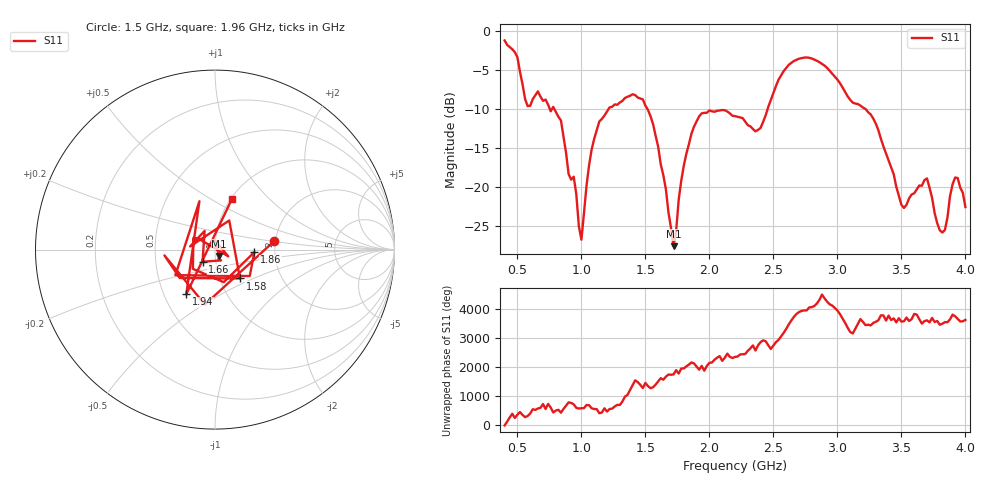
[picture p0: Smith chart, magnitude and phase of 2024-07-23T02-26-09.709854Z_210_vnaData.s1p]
!Created with skrf (http://scikit-rf.org).
# Hz S RI R 50.0
!freq ReS11 ImS11
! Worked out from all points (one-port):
!   181 points, 400 MHz to 4 GHz, reference 50 ohm
!   lowest |S11| = -27.5 dB at 1.72 GHz (marker M1), VSWR 1.09, Z = 52.3 - j3.65 ohm
!   |S11| at or under -10 dB: 788 MHz to 1.213 GHz (425 MHz wide, 42.5 % of centre); 1.515 GHz to 2.455 GHz (940.8 MHz wide, 47.4 % of centre); 3.217 GHz to end of sweep (the widest 3 of 4)
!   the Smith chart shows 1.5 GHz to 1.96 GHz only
!   S11 on the Smith chart (normalised r, x): 1.5 GHz: 1.96, +0.20; 1.58 GHz: 1.25, -0.42; 1.66 GHz: 0.86, -0.12; 1.86 GHz: 1.56, -0.05; 1.94 GHz: 0.65, -0.35; 1.96 GHz: 1.01, +0.63
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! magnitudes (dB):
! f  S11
! 400 MHz  -1.3
! 500 MHz  -3.4
! 580 MHz  -9.7
! 660 MHz  -7.8
! 860 MHz  -13.6
! 940 MHz  -18.7
! 1 GHz  -26.7
! 1.1 GHz  -13.8
! 1.3 GHz  -9.2
! 1.5 GHz  -9.6
! 1.58 GHz  -13.5
! 1.66 GHz  -20.3
! 1.72 GHz  -27.5
! 1.76 GHz  -21.6
! 1.86 GHz  -13.2
! 1.94 GHz  -10.6
! 1.96 GHz  -10.5
! 2.2 GHz  -10.9
! 2.4 GHz  -12.4
! 2.66 GHz  -3.9
! 3.1 GHz  -8.8
! 3.28 GHz  -11.2
! 3.5 GHz  -22.3
! 3.56 GHz  -21.4
! 3.7 GHz  -18.9
! 3.82 GHz  -25.8
! 3.92 GHz  -18.8
! 4 GHz  -22.5
